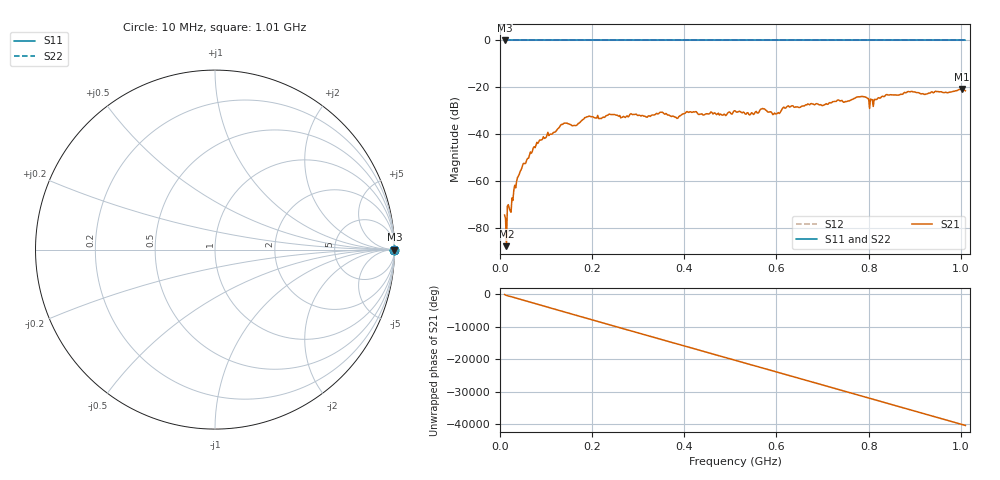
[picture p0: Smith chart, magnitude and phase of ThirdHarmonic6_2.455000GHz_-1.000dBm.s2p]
! 8/17/2025 4:24:54 AM
! C:\ANRITSUVNA\TEMP\TEMP.S2P
! CHANNEL.1
! TR.MEASUREMENT
! RAW.DATA
! RF.CORRECTION.OFF
! AVERAGING.OFF
! IF.BANDWIDTH: 5KHZ
! SWEEPTYPE:  FREQ.SWEEP(Linear)
! Reference Plane Port Info
! PORT:  PORT1  PORT2
! DISTANCE:  0  m  0  m
! TIME:  0  s  0  s
! PHASE.OFFSET:  0  deg.  0  deg.
! LOSS:  0  dB  0  dB
! REF.LOSS:  0  dB  0  dB
! REF.FREQ:  0  Hz  0  Hz
! Power Info
! POWER:  -20  dBm  -20  dBm
! EFF.POWER:  -20  dBm  -20  dBm
! SOURCE.ATTEN:  0  dB  0  dB
! TEST.ATTEN:  0  dB  0  dB
# GHZ S RI R 50.0
! FREQ.GHZ  S11RE  S11IM  S21RE  S21IM  S12RE  S12IM  S22RE  S22IM
!; PortSelection: Port_12
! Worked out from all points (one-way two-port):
!   501 points, 10 MHz to 1.01 GHz, reference 50 ohm
!   highest |S21| = -20.67 dB at 1.002 GHz (marker M1); lowest = -87.6 dB at 14 MHz (marker M2)
!   lowest |S11| = 0.0 dB at 10 MHz (marker M3)
!   |S11| at or under -10 dB: nowhere
!   |S22| runs from 0.0 to 0.0 dB; largest |S21 - S12| = 1.1
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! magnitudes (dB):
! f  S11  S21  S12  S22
! 10 MHz  0.0  -74.4  0.0  0.0
! 14 MHz  0.0  -87.6  0.0  0.0
! 24 MHz  0.0  -73.2  0.0  0.0
! 34 MHz  0.0  -62.8  0.0  0.0
! 46 MHz  0.0  -55.1  0.0  0.0
! 76 MHz  0.0  -45.7  0.0  0.0
! 136 MHz  0.0  -35.8  0.0  0.0
! 178 MHz  0.0  -34.0  0.0  0.0
! 344 MHz  0.0  -31.2  0.0  0.0
! 384 MHz  0.0  -33.2  0.0  0.0
! 408 MHz  0.0  -30.5  0.0  0.0
! 510 MHz  0.0  -29.9  0.0  0.0
! 546 MHz  0.0  -30.8  0.0  0.0
! 570 MHz  0.0  -29.0  0.0  0.0
! 596 MHz  0.0  -30.9  0.0  0.0
! 622 MHz  0.0  -28.3  0.0  0.0
! 678 MHz  0.0  -27.0  0.0  0.0
! 786 MHz  0.0  -23.9  0.0  0.0
! 806 MHz  0.0  -25.1  0.0  0.0
! 844 MHz  0.0  -23.3  0.0  0.0
! 1.002 GHz  0.0  -20.7  0.0  0.0
! 1.01 GHz  0.0  -21.4  0.0  0.0
